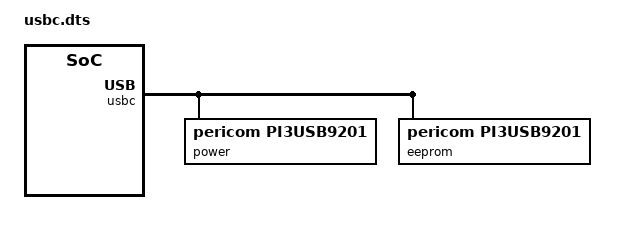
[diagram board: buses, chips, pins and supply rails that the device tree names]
/* Copyright 2021 The Chromium OS Authors. All rights reserved.
 * Use of this source code is governed by a BSD-style license that can be
 * found in the LICENSE file.
 */

/ {
	usbc {
		port0: usbc-port0 {
			bc12 {
				compatible = "pericom,pi3usb9201";
				label = "power";
				status = "okay";
				port = <&i2c_power>;
				i2c-addr-flags = "PI3USB9201_I2C_ADDR_3_FLAGS";
			};
		};

		port1: usbc-port1 {
			bc12 {
				compatible = "pericom,pi3usb9201";
				label = "eeprom";
				status = "okay";
				port = <&i2c_eeprom>;
				i2c-addr-flags = "PI3USB9201_I2C_ADDR_3_FLAGS";
			};
		};
	};
};
